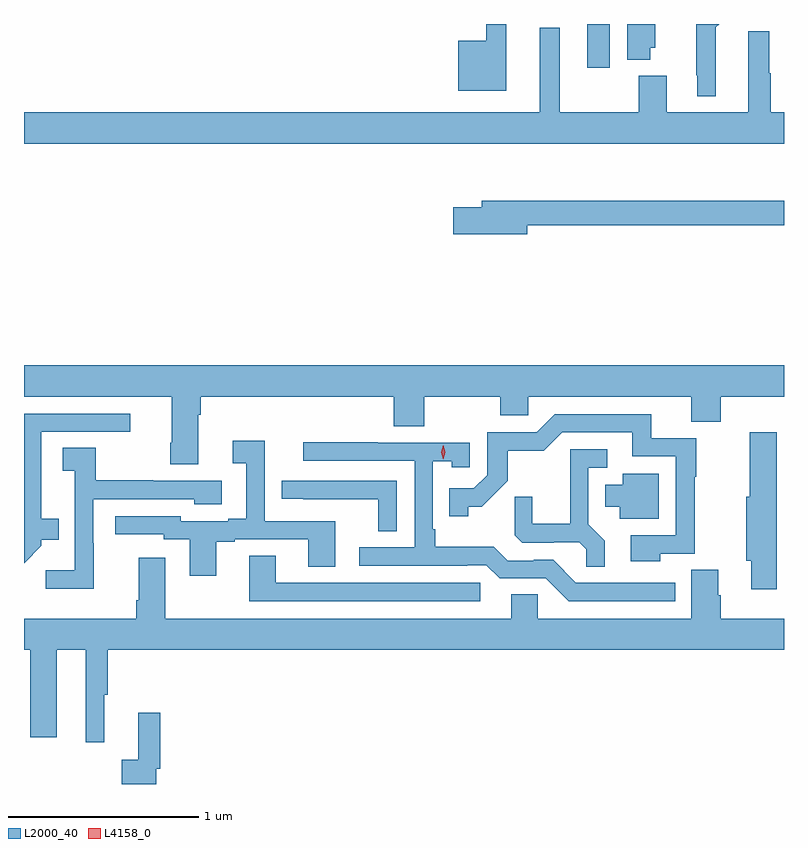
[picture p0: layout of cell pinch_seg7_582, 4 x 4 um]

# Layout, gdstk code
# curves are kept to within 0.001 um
import gdstk
lib = gdstk.Library(unit=1e-6, precision=1e-09)
def R(c, l, rs):  # rectangles x0, y0, x1, y1
    for r in rs: c.add(gdstk.rectangle(r[:2], r[2:], *l))
def P(c, l, *ps):  # polygons
    for p in ps: c.add(gdstk.Polygon(p, *l))
L2000_40 = (2000, 40)
L4158_0 = (4158, 0)

pinch_seg7_582 = lib.new_cell('pinch_seg7_582')
R(pinch_seg7_582, L2000_40, [(206.444,1034.316,206.563,1034.545)])
P(pinch_seg7_582, L2000_40, [(206.017,1034.545),(205.913,1034.545),(205.913,1034.458),(205.766,1034.458),(205.766,1034.195),(206.017,1034.195)],
  [(207.121,1034.528),(207.138,1034.545),(207.019,1034.545),(207.019,1034.275),(207.023,1034.275),(207.023,1034.165),(207.121,1034.165)],
  [(206.776,1034.421),(206.803,1034.421),(206.803,1034.545),(206.654,1034.545),(206.654,1034.357),(206.776,1034.357)],
  [(207.48,1034.08),(207.411,1034.08),(207.411,1034.285),(207.403,1034.285),(207.403,1034.506),(207.293,1034.506),(207.293,1034.08),(206.863,1034.08),(206.863,1034.272),(206.716,1034.272),(206.716,1034.08),(206.299,1034.08),(206.299,1034.524),(206.195,1034.524),(206.195,1034.08),(203.48,1034.08),(203.48,1033.916),(207.48,1033.916)],
  [(206.128,1033.486),(207.48,1033.486),(207.48,1033.615),(205.889,1033.615),(205.889,1033.581),(205.74,1033.581),(205.74,1033.439),(206.128,1033.439)],
  [(204.397,1032.488),(204.41,1032.488),(204.41,1032.584),(205.427,1032.584),(205.427,1032.427),(205.587,1032.427),(205.587,1032.584),(205.987,1032.584),(205.987,1032.486),(206.133,1032.486),(206.133,1032.584),(206.993,1032.584),(206.993,1032.451),(207.146,1032.451),(207.146,1032.584),(207.48,1032.584),(207.48,1032.748),(203.48,1032.748),(203.48,1032.584),(204.257,1032.584),(204.257,1032.34),(204.25,1032.34),(204.25,1032.228),(204.397,1032.228)],
  [(203.571,1031.799),(203.571,1031.831),(203.663,1031.831),(203.663,1031.941),(203.572,1031.941),(203.572,1032.399),(204.04,1032.399),(204.04,1032.495),(203.48,1032.495),(203.48,1031.708)],
  [(206.829,1031.757),(207.011,1031.757),(207.011,1032.163),(207.019,1032.163),(207.019,1032.366),(206.78,1032.366),(206.78,1032.492),(206.274,1032.492),(206.178,1032.396),(205.917,1032.396),(205.917,1032.171),(205.848,1032.102),(205.717,1032.102),(205.717,1031.955),(205.818,1031.955),(205.818,1032.005),(205.888,1032.005),(206.026,1032.142),(206.026,1032.298),(206.215,1032.298),(206.313,1032.396),(206.681,1032.396),(206.681,1032.27),(206.91,1032.27),(206.91,1031.853),(206.673,1031.853),(206.673,1031.717),(206.829,1031.717)],
  [(207.442,1032.397),(207.301,1032.397),(207.301,1032.057),(207.281,1032.057),(207.281,1031.721),(207.308,1031.721),(207.308,1031.571),(207.442,1031.571)],
  [(204.493,1031.82),(204.589,1031.82),(204.589,1031.832),(204.977,1031.832),(204.977,1031.689),(205.117,1031.689),(205.117,1031.928),(204.747,1031.928),(204.747,1032.352),(204.579,1032.352),(204.579,1032.232),(204.65,1032.232),(204.65,1031.941),(204.554,1031.941),(204.554,1031.928),(204.306,1031.928),(204.306,1031.955),(203.961,1031.955),(203.961,1031.859),(204.216,1031.859),(204.216,1031.832),(204.353,1031.832),(204.353,1031.64),(204.493,1031.64)],
  [(206.908,1031.604),(206.385,1031.604),(206.265,1031.724),(206.164,1031.724),(206.164,1031.721),(206.025,1031.721),(205.952,1031.794),(205.645,1031.794),(205.645,1031.887),(205.632,1031.887),(205.632,1032.245),(205.731,1032.245),(205.731,1032.213),(205.827,1032.213),(205.827,1032.342),(205.343,1032.342),(205.343,1032.345),(204.951,1032.345),(204.951,1032.246),(205.536,1032.246),(205.536,1031.79),(205.245,1031.79),(205.245,1031.694),(205.814,1031.694),(205.814,1031.697),(205.914,1031.697),(205.983,1031.628),(206.226,1031.628),(206.346,1031.508),(206.908,1031.508)],
  [(203.847,1031.813),(203.844,1031.813),(203.844,1032.045),(204.375,1032.045),(204.375,1032.017),(204.52,1032.017),(204.52,1032.141),(204.161,1032.141),(204.161,1032.144),(203.857,1032.144),(203.857,1032.314),(203.685,1032.314),(203.685,1032.193),(203.748,1032.193),(203.748,1031.671),(203.595,1031.671),(203.595,1031.573),(203.847,1031.573)],
  [(206.537,1031.825),(206.451,1031.911),(206.451,1032.21),(206.551,1032.21),(206.551,1032.306),(206.354,1032.306),(206.354,1031.914),(206.156,1031.914),(206.156,1032.057),(206.062,1032.057),(206.062,1031.855),(206.103,1031.814),(206.268,1031.814),(206.268,1031.817),(206.402,1031.817),(206.439,1031.78),(206.439,1031.689),(206.537,1031.689)],
  [(206.821,1032.178),(206.63,1032.178),(206.63,1032.121),(206.54,1032.121),(206.54,1032.005),(206.615,1032.005),(206.615,1031.942),(206.821,1031.942)],
  [(205.443,1032.141),(204.837,1032.141),(204.837,1032.046),(204.949,1032.046),(204.949,1032.045),(205.345,1032.045),(205.345,1031.875),(205.443,1031.875)],
  [(205.882,1031.604),(204.805,1031.604),(204.805,1031.747),(204.665,1031.747),(204.665,1031.508),(205.882,1031.508)],
  [(203.903,1031.016),(203.921,1031.016),(203.921,1031.252),(207.48,1031.252),(207.48,1031.416),(207.146,1031.416),(207.146,1031.538),(207.133,1031.538),(207.133,1031.672),(206.993,1031.672),(206.993,1031.416),(206.184,1031.416),(206.184,1031.543),(206.045,1031.543),(206.045,1031.416),(204.223,1031.416),(204.223,1031.737),(204.083,1031.737),(204.083,1031.512),(204.071,1031.512),(204.071,1031.416),(203.48,1031.416),(203.48,1031.252),(203.513,1031.252),(203.513,1030.791),(203.653,1030.791),(203.653,1031.252),(203.804,1031.252),(203.804,1030.764),(203.903,1030.764)],
  [(204.177,1030.624),(204.197,1030.624),(204.197,1030.921),(204.08,1030.921),(204.08,1030.673),(203.994,1030.673),(203.994,1030.545),(204.177,1030.545)])
P(pinch_seg7_582, L4158_0, [(205.686,1032.255),(205.677,1032.291),(205.686,1032.327),(205.687,1032.327),(205.687,1032.327),(205.697,1032.291),(205.687,1032.255),(205.687,1032.255)])

lib.write_gds('pinch_seg7_582.gds')
